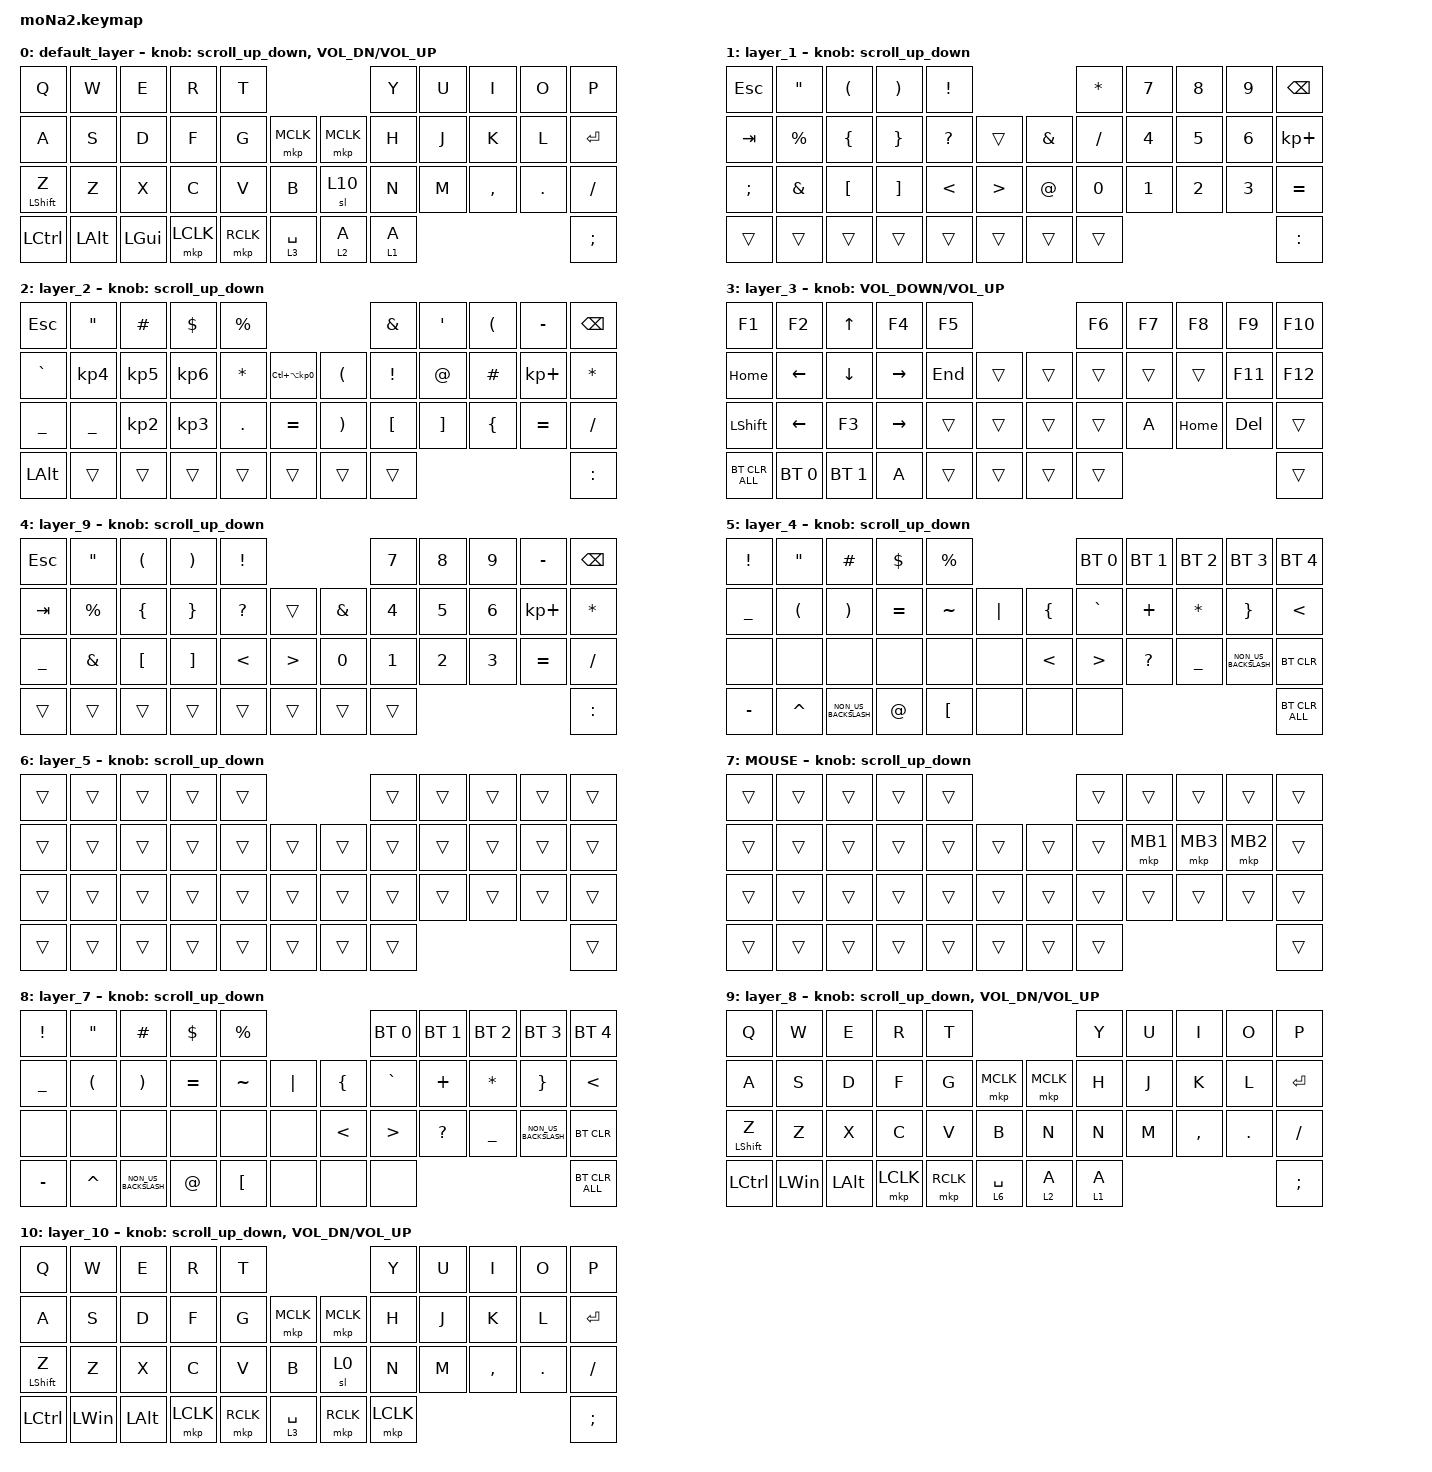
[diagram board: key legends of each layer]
#include <behaviors.dtsi>
#include <dt-bindings/zmk/bt.h>
#include <dt-bindings/zmk/keys.h>
#include <dt-bindings/zmk/pointing.h>

#define ZMK_POINTING_DEFAULT_SCRL_VAL 100
#define MOUSE 6

&mt {
    flavor = "balanced";
    quick-tap-ms = <0>;
};

/ {
    combos { compatible = "zmk,combos"; };

    macros {
        to_layer_0: to_layer_0 {
            compatible = "zmk,behavior-macro-one-param";
            #binding-cells = <1>;
            bindings = <&to 0 &macro_param_1to1 &kp MACRO_PLACEHOLDER>;
            label = "TO_LAYER_0";
        };
    };

    behaviors {
        lt_to_layer_0: lt_to_layer_0 {
            compatible = "zmk,behavior-hold-tap";
            label = "LAYER_TAP_TO_0";
            bindings = <&mo>, <&to_layer_0>;

            #binding-cells = <2>;
            tapping-term-ms = <200>;
        };

        scroll_up_down: behavior_sensor_rotate_mouse_wheel_up_down {
            compatible = "zmk,behavior-sensor-rotate";
            #sensor-binding-cells = <0>;
            bindings = <&msc SCRL_UP>, <&msc SCRL_DOWN>;

            tap-ms = <20>;
        };
    };

    keymap {
        compatible = "zmk,keymap";

        default_layer {
            bindings = <
&kp Q             &kp W         &kp E         &kp R      &kp T                                &kp Y    &kp U  &kp I      &kp O       &kp P
&kp A             &kp S         &kp D         &kp F      &kp G      &mkp MCLK      &mkp MCLK  &kp H    &kp J  &kp K      &kp L       &kp ENTER
&mt LEFT_SHIFT Z  &kp Z         &kp X         &kp C      &kp V      &kp B          &sl 10     &kp N    &kp M  &kp COMMA  &kp PERIOD  &kp SLASH
&kp LCTRL         &kp LEFT_ALT  &kp LEFT_GUI  &mkp LCLK  &mkp RCLK  &lt 3 SPACE    &lt 2 A    &lt 1 A                                &kp SEMICOLON
            >;

            sensor-bindings =
                <&scroll_up_down>,
                <&inc_dec_kp C_VOL_DN C_VOL_UP>;
        };

        layer_1 {
            bindings = <
&kp ESCAPE  &kp DOUBLE_QUOTES  &kp LEFT_PARENTHESIS  &kp RIGHT_PARENTHESIS  &kp EXCLAMATION                                     &kp ASTERISK  &kp N7  &kp N8  &kp N9  &kp BACKSPACE
&kp TAB     &kp PERCENT        &kp LEFT_BRACE        &kp RIGHT_BRACE        &kp QUESTION     &trans              &kp AMPERSAND  &kp FSLH      &kp N4  &kp N5  &kp N6  &kp KP_PLUS
&kp SEMI    &kp AMPERSAND      &kp LEFT_BRACKET      &kp RIGHT_BRACKET      &kp LESS_THAN    &kp GREATER_THAN    &kp AT_SIGN    &kp N0        &kp N1  &kp N2  &kp N3  &kp EQUAL
&trans      &trans             &trans                &trans                 &trans           &trans              &trans         &trans                                &kp COLON
            >;

            sensor-bindings = <&scroll_up_down>;
        };

        layer_2 {
            bindings = <
&kp ESC         &kp DOUBLE_QUOTES  &kp HASH         &kp DOLLAR       &kp PERCENT                                                     &kp AMPERSAND     &kp SQT            &kp LEFT_PARENTHESIS  &kp MINUS    &kp BACKSPACE
&kp GRAVE       &kp KP_NUMBER_4    &kp KP_NUMBER_5  &kp KP_NUMBER_6  &kp ASTERISK  &kp LC(LA(KP_NUMBER_0))    &kp LEFT_PARENTHESIS   &kp EXCLAMATION   &kp AT_SIGN        &kp HASH              &kp KP_PLUS  &kp ASTRK
&kp UNDERSCORE  &kp UNDERSCORE     &kp KP_NUMBER_2  &kp KP_NUMBER_3  &kp PERIOD    &kp EQUAL                  &kp RIGHT_PARENTHESIS  &kp LEFT_BRACKET  &kp RIGHT_BRACKET  &kp LEFT_BRACE        &kp EQUAL    &kp SLASH
&kp LEFT_ALT    &trans             &trans           &trans           &trans        &trans                     &trans                 &trans                                                                  &kp COLON
            >;

            sensor-bindings = <&scroll_up_down>;
        };

        layer_3 {
            bindings = <
&kp F1          &kp F2          &kp UP_ARROW    &kp F4           &kp F5                     &kp F6  &kp F7  &kp F8    &kp F9      &kp F10
&kp HOME        &kp LEFT_ARROW  &kp DOWN_ARROW  &kp RIGHT_ARROW  &kp END  &trans    &trans  &trans  &trans  &trans    &kp F11     &kp F12
&kp LEFT_SHIFT  &kp LEFT        &kp F3          &kp RIGHT        &trans   &trans    &trans  &trans  &kp A   &kp HOME  &kp DELETE  &trans
&bt BT_CLR_ALL  &bt BT_SEL 0    &bt BT_SEL 1    &kp A            &trans   &trans    &trans  &trans                                &trans
            >;

            sensor-bindings = <&inc_dec_kp C_VOLUME_DOWN C_VOLUME_UP>;
        };

        layer_9 {
            bindings = <
&kp ESCAPE      &kp DOUBLE_QUOTES  &kp LEFT_PARENTHESIS  &kp RIGHT_PARENTHESIS  &kp EXCLAMATION                                     &kp N7        &kp N8        &kp N9        &kp MINUS    &kp BACKSPACE
&kp TAB         &kp PERCENT        &kp LEFT_BRACE        &kp RIGHT_BRACE        &kp QUESTION     &trans              &kp AMPERSAND  &kp NUMBER_4  &kp N5        &kp NUMBER_6  &kp KP_PLUS  &kp ASTERISK
&kp UNDERSCORE  &kp AMPERSAND      &kp LEFT_BRACKET      &kp RIGHT_BRACKET      &kp LESS_THAN    &kp GREATER_THAN    &kp N0         &kp NUMBER_1  &kp NUMBER_2  &kp NUMBER_3  &kp EQUAL    &kp SLASH
&trans          &trans             &trans                &trans                 &trans           &trans              &trans         &trans                                                 &kp COLON
            >;

            sensor-bindings = <&scroll_up_down>;
        };

        layer_4 {
            bindings = <
&kp EXCLAMATION  &kp DOUBLE_QUOTES     &kp POUND              &kp DOLLAR   &kp PERCENT                                   &bt BT_SEL 0      &bt BT_SEL 1  &bt BT_SEL 2    &bt BT_SEL 3          &bt BT_SEL 4
&kp UNDER        &kp LEFT_PARENTHESIS  &kp RIGHT_PARENTHESIS  &kp EQUAL    &kp TILDE         &kp PIPE    &kp LEFT_BRACE  &kp GRAVE         &kp PLUS      &kp ASTERISK    &kp RIGHT_BRACE       &kp LESS_THAN
&none            &none                 &none                  &none        &none             &none       &kp LESS_THAN   &kp GREATER_THAN  &kp QUESTION  &kp UNDERSCORE  &kp NON_US_BACKSLASH  &bt BT_CLR
&kp MINUS        &kp CARET             &kp NON_US_BACKSLASH   &kp AT_SIGN  &kp LEFT_BRACKET  &none       &none           &none                                                                 &bt BT_CLR_ALL
            >;

            sensor-bindings = <&scroll_up_down>;
        };

        layer_5 {
            bindings = <
&trans  &trans  &trans  &trans  &trans                    &trans  &trans  &trans  &trans  &trans
&trans  &trans  &trans  &trans  &trans  &trans    &trans  &trans  &trans  &trans  &trans  &trans
&trans  &trans  &trans  &trans  &trans  &trans    &trans  &trans  &trans  &trans  &trans  &trans
&trans  &trans  &trans  &trans  &trans  &trans    &trans  &trans                          &trans
            >;

            sensor-bindings = <&scroll_up_down>;
        };

        MOUSE {
            bindings = <
&trans  &trans  &trans  &trans  &trans                    &trans  &trans    &trans    &trans    &trans
&trans  &trans  &trans  &trans  &trans  &trans    &trans  &trans  &mkp MB1  &mkp MB3  &mkp MB2  &trans
&trans  &trans  &trans  &trans  &trans  &trans    &trans  &trans  &trans    &trans    &trans    &trans
&trans  &trans  &trans  &trans  &trans  &trans    &trans  &trans                                &trans
            >;

            sensor-bindings = <&scroll_up_down>;
        };

        layer_7 {
            bindings = <
&kp EXCLAMATION  &kp DOUBLE_QUOTES     &kp POUND              &kp DOLLAR   &kp PERCENT                                   &bt BT_SEL 0      &bt BT_SEL 1  &bt BT_SEL 2    &bt BT_SEL 3          &bt BT_SEL 4
&kp UNDER        &kp LEFT_PARENTHESIS  &kp RIGHT_PARENTHESIS  &kp EQUAL    &kp TILDE         &kp PIPE    &kp LEFT_BRACE  &kp GRAVE         &kp PLUS      &kp ASTERISK    &kp RIGHT_BRACE       &kp LESS_THAN
&none            &none                 &none                  &none        &none             &none       &kp LESS_THAN   &kp GREATER_THAN  &kp QUESTION  &kp UNDERSCORE  &kp NON_US_BACKSLASH  &bt BT_CLR
&kp MINUS        &kp CARET             &kp NON_US_BACKSLASH   &kp AT_SIGN  &kp LEFT_BRACKET  &none       &none           &none                                                                 &bt BT_CLR_ALL
            >;

            sensor-bindings = <&scroll_up_down>;
        };

        layer_8 {
            bindings = <
&kp Q             &kp W         &kp E         &kp R      &kp T                                &kp Y    &kp U  &kp I      &kp O       &kp P
&kp A             &kp S         &kp D         &kp F      &kp G      &mkp MCLK      &mkp MCLK  &kp H    &kp J  &kp K      &kp L       &kp ENTER
&mt LEFT_SHIFT Z  &kp Z         &kp X         &kp C      &kp V      &kp B          &kp N      &kp N    &kp M  &kp COMMA  &kp PERIOD  &kp SLASH
&kp LCTRL         &kp LEFT_WIN  &kp LEFT_ALT  &mkp LCLK  &mkp RCLK  &lt 6 SPACE    &lt 2 A    &lt 1 A                                &kp SEMICOLON
            >;

            sensor-bindings =
                <&scroll_up_down>,
                <&inc_dec_kp C_VOL_DN C_VOL_UP>;
        };

        layer_10 {
            bindings = <
&kp Q             &kp W         &kp E         &kp R      &kp T                                &kp Y      &kp U  &kp I      &kp O       &kp P
&kp A             &kp S         &kp D         &kp F      &kp G      &mkp MCLK      &mkp MCLK  &kp H      &kp J  &kp K      &kp L       &kp ENTER
&mt LEFT_SHIFT Z  &kp Z         &kp X         &kp C      &kp V      &kp B          &sl 0      &kp N      &kp M  &kp COMMA  &kp PERIOD  &kp SLASH
&kp LCTRL         &kp LEFT_WIN  &kp LEFT_ALT  &mkp LCLK  &mkp RCLK  &lt 3 SPACE    &mkp RCLK  &mkp LCLK                                &kp SEMICOLON
            >;

            sensor-bindings =
                <&scroll_up_down>,
                <&inc_dec_kp C_VOL_DN C_VOL_UP>;
        };
    };
};
